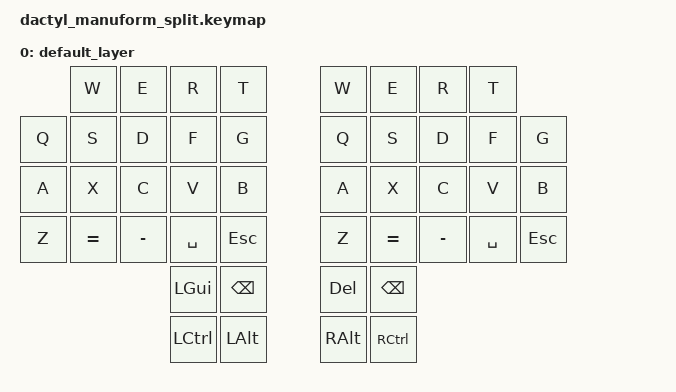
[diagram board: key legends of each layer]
/*
 * Copyright (c) 2020-2021 The ZMK Contributors
 *
 * SPDX-License-Identifier: MIT
 */

#include <behaviors.dtsi>
#include <dt-bindings/zmk/keys.h>
#include <dt-bindings/zmk/bt.h>
#include <dt-bindings/zmk/outputs.h>

/ {
	keymap {
		compatible = "zmk,keymap";

		default_layer {
			bindings = <
						&kp W		&kp E		&kp R		&kp T					&kp W		&kp E		&kp R		&kp T
			&kp Q		&kp S		&kp D		&kp F		&kp G					&kp Q		&kp S		&kp D		&kp F		&kp G
			&kp A		&kp X		&kp C		&kp V		&kp B					&kp A		&kp X		&kp C		&kp V		&kp B
			&kp Z		&kp EQUAL	&kp MINUS	&kp SPACE	&kp ESC					&kp Z		&kp EQUAL	&kp MINUS	&kp SPACE	&kp ESC
												&kp LGUI	&kp BSPC				&kp DEL		&kp BSPC
												&kp LCTRL	&kp LALT				&kp RALT	&kp RCTRL
			>;
		};
	};
};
